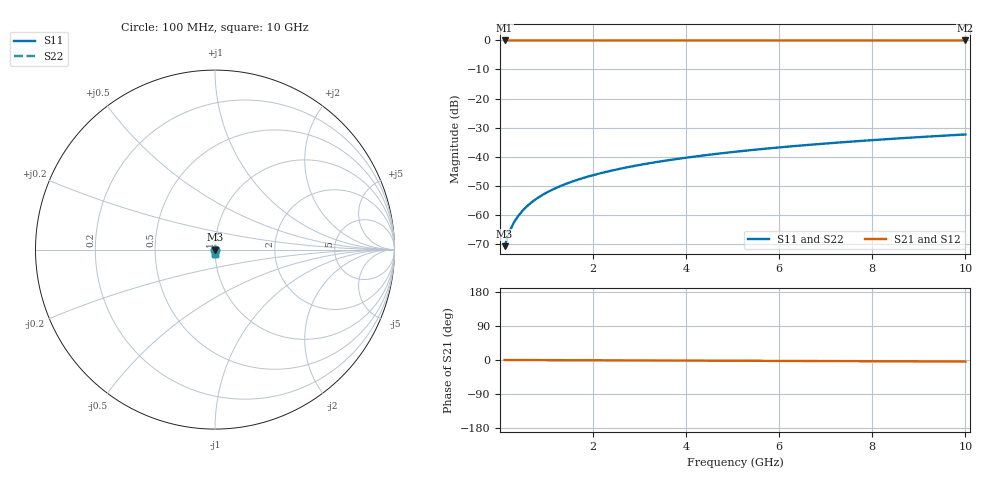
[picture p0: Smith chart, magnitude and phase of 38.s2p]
# Hz S RI R 50.00
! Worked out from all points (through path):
!   100 points, 100 MHz to 10 GHz, reference 50 ohm
!   highest |S21| = 0.00 dB at 100 MHz (marker M1); lowest = 0.0 dB at 10 GHz (marker M2)
!   lowest |S11| = -70.9 dB at 100 MHz (marker M3), VSWR 1.00, Z = 50 - j0.0239 ohm
!   |S11| at or under -10 dB: start of sweep to end of sweep
!   |S22| runs from -70.9 to -32.4 dB; largest |S21 - S12| = 0
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1e8  0.000158 -0.000239  0.9998 -0.000695  0.9998 -0.000695  0.000158 -0.000239
2e8  0.000158 -0.000477  0.9998 -0.00139  0.9998 -0.00139  0.000158 -0.000477
3e8  0.000158 -0.000716  0.9998 -0.00208  0.9998 -0.00208  0.000158 -0.000716
4e8  0.000157 -0.000955  0.9998 -0.00278  0.9998 -0.00278  0.000157 -0.000955
5e8  0.000156 -0.00119  0.9998 -0.00347  0.9998 -0.00347  0.000156 -0.00119
6e8  0.000154 -0.00143  0.9998 -0.00417  0.9998 -0.00417  0.000154 -0.00143
7e8  0.000152 -0.00167  0.9998 -0.00486  0.9998 -0.00486  0.000152 -0.00167
8e8  0.000149 -0.00191  0.9998 -0.00556  0.9998 -0.00556  0.000149 -0.00191
9e8  0.000146 -0.00215  0.9998 -0.00625  0.9998 -0.00625  0.000146 -0.00215
1.1e9  0.000139 -0.00263  0.9998 -0.00764  0.9998 -0.00764  0.000139 -0.00263
1.4e9  0.000127 -0.00334  0.9998 -0.00973  0.9998 -0.00973  0.000127 -0.00334
1.8e9  0.000105 -0.0043  0.9997 -0.0125  0.9997 -0.0125  0.000105 -0.0043
2.1e9  8.47e-05 -0.00502  0.9997 -0.0146  0.9997 -0.0146  8.47e-05 -0.00502
2.5e9  5.33e-05 -0.00597  0.9997 -0.0174  0.9997 -0.0174  5.33e-05 -0.00597
2.9e9  1.65e-05 -0.00693  0.9996 -0.0202  0.9996 -0.0202  1.65e-05 -0.00693
3.4e9  -3.71e-05 -0.00813  0.9995 -0.0236  0.9995 -0.0236  -3.71e-05 -0.00813
4.2e9  -0.00014 -0.01  0.9993 -0.0292  0.9993 -0.0292  -0.00014 -0.01
5.1e9  -0.000282 -0.0122  0.9991 -0.0355  0.9991 -0.0355  -0.000282 -0.0122
5.9e9  -0.000432 -0.0141  0.9989 -0.0411  0.9989 -0.0411  -0.000432 -0.0141
6.7e9  -0.000602 -0.016  0.9986 -0.0467  0.9986 -0.0467  -0.000602 -0.016
8.4e9  -0.00104 -0.0201  0.9979 -0.0586  0.9979 -0.0586  -0.00104 -0.0201
1e10  -0.00154 -0.024  0.997 -0.0698  0.997 -0.0698  -0.00154 -0.024
